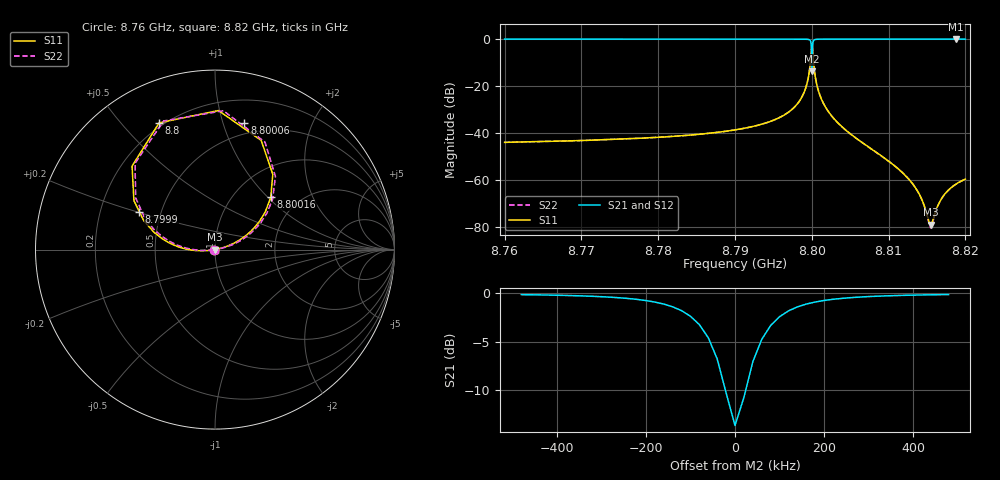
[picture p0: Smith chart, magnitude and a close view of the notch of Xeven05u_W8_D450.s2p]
! Sonnet Data File
! From: emgraph Version : 16.52
! From Project: Qubit_Xmon2_brg_para
! Data is De-embedded
! Data File Written: 11/12/2017 19:09:19
!< HDATE 11/12/2017 17:12:30
!< MDATE 11/12/2017 17:12:30
!< PARAMS
!< Lj = 11.0
!< Gap = 6.0
!< Pwid = 2000.0
!< Airgap = 6.0
!< Width = 10.0
!< Bwid = 8.0
!< Dis1 = 450.0
!< Dis2 = 456.0
!< END PARAMS
# GHZ S MA R 51.80000
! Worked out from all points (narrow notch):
!   3001 points, 8.76 GHz to 8.82 GHz, reference 51.8 ohm
!   highest |S21| = 0.00 dB at 8.8188 GHz (marker M1); lowest = -13.6 dB at 8.80002 GHz (marker M2)
!   notch at M2: 13.6 dB deep, 82 kHz wide at half that depth
!   lowest |S11| = -79.0 dB at 8.81548 GHz (marker M3), VSWR 1.00, Z = 51.8 + j0.0114 ohm
!   |S11| at or under -10 dB: start of sweep to 8.799813 GHz; 8.800224 GHz to end of sweep
!   |S22| runs from -80.3 to -2.0 dB; largest |S21 - S12| = 0
!   S11 on the Smith chart (normalised r, x): 8.76 GHz: 0.99, -0.00; 8.7999 GHz: 0.37, +0.20; 8.8 GHz: 0.18, +0.64; 8.80006 GHz: 0.39, +1.18; 8.80016 GHz: 1.46, +1.04; 8.82 GHz: 1.00, -0.00
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8.76  0.006328 -170.5  1 -80.5  1 -80.5  0.006328 -170.6
!< P1 F=8.76 Eeff=(6.44679139 -2.9786e-5) Z0=(51.7991425 1.19067e-4) R=0.0 C=0.0
!< P2 F=8.76 Eeff=(6.44679139 -2.9786e-5) Z0=(51.7991425 1.19067e-4) R=0.0 C=0.0
8.77  0.006922 -170.5  1 -80.6  1 -80.6  0.006922 -170.8
8.78  0.008105 -170.6  1 -80.8  1 -80.8  0.008105 -171.1
8.79  0.01164 -170.7  0.9999 -81.1  0.9999 -81.1  0.01164 -171.7
8.79468  0.01783 -171.0  0.9998 -81.5  0.9998 -81.5  0.01783 -172.3
8.79756  0.03332 -171.9  0.9992 -82.4  0.9992 -82.4  0.03332 -173.6
8.7991  0.08105 -175.3  0.9952 -85.2  0.9952 -85.2  0.08105 -177.2
8.79958  0.1617 178.8  0.9803 -89.8  0.9803 -89.8  0.1617 176.9
8.7999  0.4734 153.9  0.8127 -108.4  0.8127 -108.4  0.4733 151.9
8.8  0.7718 113.8  0.3059 -116.0  0.3059 -116.0  0.7717 111.8
8.80002  0.7926 101.2  0.2078 -83.3  0.2078 -83.3  0.7925 99.2
8.80006  0.726 77.0  0.4425 -39.6  0.4425 -39.6  0.7259 74.9
8.80016  0.4257 43.1  0.8498 -55.6  0.8498 -55.6  0.4257 41.1
8.80036  0.1978 25.1  0.9692 -69.1  0.9692 -69.1  0.1978 23.0
8.80092  0.07388 16.1  0.9956 -76.3  0.9956 -76.3  0.07387 13.9
8.80236  0.02569 12.7  0.9994 -79.1  0.9994 -79.1  0.02569 10.2
8.81  0.00252 13.3  1 -80.5  1 -80.5  0.002518 6.5
8.8135  0.0006822 20.0  1 -80.6  1 -80.6  0.0006792 0.4
8.81548  0.000112 100.9  1 -80.7  1 -80.7  9.651e-05 -82.4
8.81692  0.0004076 174.5  1 -80.7  1 -80.7  0.0004041 -157.8
8.8188  0.00082 -177.5  1 -80.7  1 -80.7  0.0008185 -164.8
8.82  0.001045 -175.8  1 -80.8  1 -80.8  0.001044 -166.3
